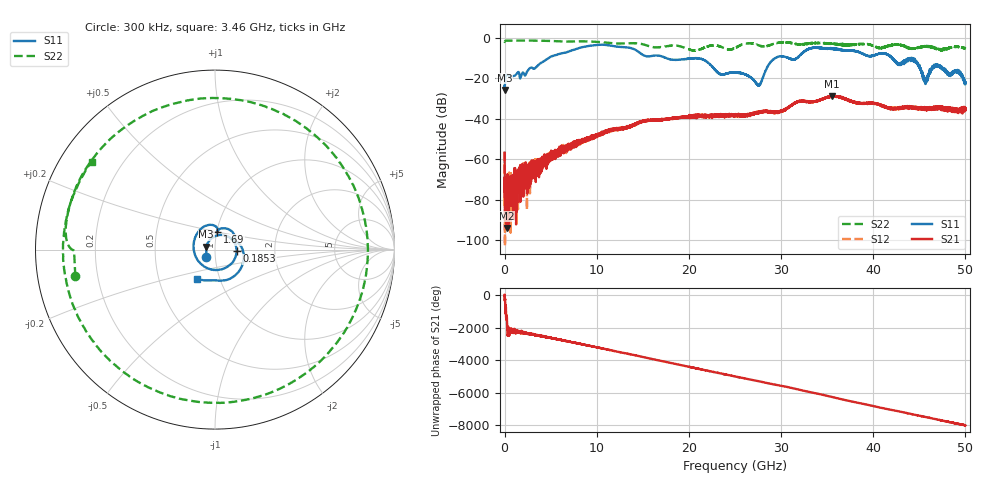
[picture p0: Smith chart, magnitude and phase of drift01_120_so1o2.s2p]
!Created with skrf (http://scikit-rf.org).
# Hz S RI R 50.0
!freq ReS11 ImS11 ReS21 ImS21 ReS12 ImS12 ReS22 ImS22
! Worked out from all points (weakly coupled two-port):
!   10001 points, 300 kHz to 50 GHz, reference 50 ohm
!   highest |S21| = -28.73 dB at 35.52 GHz (marker M1); lowest = -93.9 dB at 250.3 MHz (marker M2)
!   lowest |S11| = -25.8 dB at 5.3 MHz (marker M3), VSWR 1.11, Z = 45.3 + j1.41 ohm
!   |S11| at or under -10 dB: start of sweep to 4.768 GHz; 17.53 GHz to 29.37 GHz (11.84 GHz wide, 50.5 % of centre); 44.19 GHz to end of sweep (the widest 3 of 11)
!   |S22| runs from -6.4 to -1.4 dB; largest |S21 - S12| = 0.0047
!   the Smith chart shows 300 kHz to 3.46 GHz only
!   S11 on the Smith chart (normalised r, x): 300 kHz: 0.90, -0.08; 185.3 MHz: 1.27, -0.02; 1.69 GHz: 1.00, +0.20; 3.46 GHz: 0.78, -0.26
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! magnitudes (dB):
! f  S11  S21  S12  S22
! 300 kHz  -23.8  -56.7  -56.5  -2.0
! 5.3 MHz  -25.8  -67.0  -79.3  -2.1
! 185.3 MHz  -18.3  -73.8  -78.0  -1.4
! 250.3 MHz  -18.3  -93.9  -75.8  -1.4
! 1.69 GHz  -20.1  -66.0  -67.6  -1.4
! 3.46 GHz  -14.3  -63.6  -65.1  -1.5
! 8.335 GHz  -4.8  -51.7  -51.1  -1.8
! 16.67 GHz  -8.8  -40.6  -40.6  -4.8
! 21.22 GHz  -10.3  -38.7  -38.5  -5.7
! 23.39 GHz  -17.9  -38.1  -38.2  -4.4
! 25 GHz  -17.1  -38.2  -38.2  -5.1
! 27.59 GHz  -23.5  -36.6  -36.5  -3.8
! 29.28 GHz  -10.3  -36.7  -36.7  -2.9
! 31.47 GHz  -10.7  -32.1  -32.4  -2.9
! 33.34 GHz  -5.1  -31.8  -31.5  -2.7
! 35.52 GHz  -5.4  -28.7  -29.0  -3.1
! 41.67 GHz  -8.7  -34.5  -34.6  -4.0
! 42.8 GHz  -13.1  -34.8  -34.9  -3.6
! 44.41 GHz  -11.6  -34.5  -34.7  -5.4
! 45.63 GHz  -21.0  -35.1  -35.1  -4.3
! 46.95 GHz  -13.6  -34.3  -34.6  -5.4
! 50 GHz  -22.0  -35.0  -35.0  -5.3
